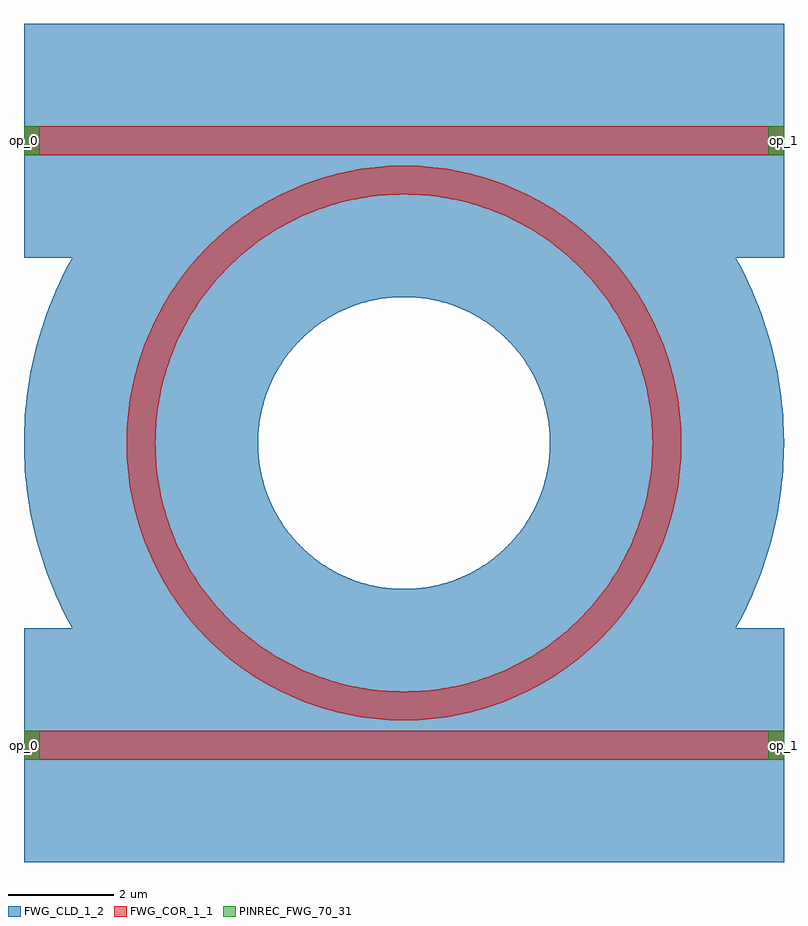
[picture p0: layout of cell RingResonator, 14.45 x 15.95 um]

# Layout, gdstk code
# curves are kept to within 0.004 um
import gdstk
lib = gdstk.Library(unit=1e-6, precision=1e-09)
def R(c, l, rs):  # rectangles x0, y0, x1, y1
    for r in rs: c.add(gdstk.rectangle(r[:2], r[2:], *l))
def P(c, l, *ps):  # polygons
    for p in ps: c.add(gdstk.Polygon(p, *l))
FWG_COR_1_1 = (1, 1)
FWG_CLD_1_2 = (1, 2)
PINREC_FWG_70_31 = (70, 31)

ring = lib.new_cell('ring')
P(ring, FWG_COR_1_1, [(4.725,0),(4.719,0.247),(4.707,0.412),(4.667,0.739),(4.604,1.063),(4.519,1.381),(4.468,1.538),(4.381,1.77),(4.247,2.071),(4.092,2.362),(3.917,2.642),(3.774,2.844),(3.62,3.037),(3.511,3.162),(3.399,3.282),(3.222,3.456),(2.974,3.672),(2.844,3.774),(2.642,3.917),(2.504,4.007),(2.291,4.133),(1.997,4.282),(1.693,4.411),(1.381,4.519),(1.143,4.585),(0.982,4.622),(0.739,4.667),(0.576,4.69),(0.247,4.719),(-0.082,4.724),(-0.412,4.707),(-0.739,4.667),(-0.982,4.622),(-1.143,4.585),(-1.46,4.494),(-1.77,4.381),(-2.071,4.247),(-2.291,4.133),(-2.434,4.05),(-2.71,3.87),(-2.974,3.672),(-3.222,3.456),(-3.399,3.282),(-3.511,3.162),(-3.672,2.974),(-3.87,2.71),(-4.05,2.434),(-4.172,2.218),(-4.282,1.997),(-4.411,1.693),(-4.519,1.381),(-4.585,1.143),(-4.638,0.902),(-4.69,0.576),(-4.719,0.247),(-4.725,0),(-4.719,-0.247),(-4.69,-0.576),(-4.638,-0.902),(-4.585,-1.143),(-4.519,-1.381),(-4.411,-1.693),(-4.282,-1.997),(-4.172,-2.218),(-4.05,-2.434),(-3.87,-2.71),(-3.672,-2.974),(-3.511,-3.162),(-3.282,-3.399),(-3.1,-3.566),(-2.844,-3.774),(-2.642,-3.917),(-2.434,-4.05),(-2.145,-4.21),(-1.922,-4.316),(-1.616,-4.44),(-1.381,-4.519),(-1.143,-4.585),(-0.902,-4.638),(-0.576,-4.69),(-0.247,-4.719),(0,-4.725),(0.247,-4.719),(0.576,-4.69),(0.902,-4.638),(1.143,-4.585),(1.381,-4.519),(1.616,-4.44),(1.846,-4.349),(2.071,-4.247),(2.291,-4.133),(2.573,-3.963),(2.844,-3.774),(3.037,-3.62),(3.222,-3.456),(3.456,-3.222),(3.672,-2.974),(3.823,-2.777),(3.963,-2.573),(4.133,-2.291),(4.247,-2.071),(4.381,-1.77),(4.494,-1.46),(4.585,-1.143),(4.638,-0.902),(4.69,-0.576),(4.719,-0.247),(4.725,0),(5.275,0),(5.268,-0.276),(5.246,-0.551),(5.21,-0.825),(5.16,-1.097),(5.118,-1.276),(5.045,-1.542),(4.957,-1.804),(4.856,-2.061),(4.741,-2.312),(4.614,-2.557),(4.522,-2.717),(4.373,-2.95),(4.213,-3.175),(4.041,-3.391),(3.858,-3.598),(3.73,-3.73),(3.598,-3.858),(3.391,-4.041),(3.175,-4.213),(2.95,-4.373),(2.717,-4.522),(2.557,-4.614),(2.312,-4.741),(2.061,-4.856),(1.804,-4.957),(1.542,-5.045),(1.365,-5.095),(1.097,-5.16),(0.825,-5.21),(0.551,-5.246),(0.276,-5.268),(0,-5.275),(-0.276,-5.268),(-0.551,-5.246),(-0.825,-5.21),(-1.097,-5.16),(-1.276,-5.118),(-1.542,-5.045),(-1.804,-4.957),(-2.061,-4.856),(-2.312,-4.741),(-2.557,-4.614),(-2.717,-4.522),(-2.95,-4.373),(-3.175,-4.213),(-3.391,-4.041),(-3.598,-3.858),(-3.73,-3.73),(-3.858,-3.598),(-4.041,-3.391),(-4.213,-3.175),(-4.373,-2.95),(-4.522,-2.717),(-4.614,-2.557),(-4.741,-2.312),(-4.856,-2.061),(-4.957,-1.804),(-5.045,-1.542),(-5.095,-1.365),(-5.16,-1.097),(-5.21,-0.825),(-5.246,-0.551),(-5.268,-0.276),(-5.275,0),(-5.268,0.276),(-5.246,0.551),(-5.21,0.825),(-5.16,1.097),(-5.118,1.276),(-5.045,1.542),(-4.957,1.804),(-4.856,2.061),(-4.741,2.312),(-4.614,2.557),(-4.522,2.717),(-4.373,2.95),(-4.213,3.175),(-4.041,3.391),(-3.858,3.598),(-3.73,3.73),(-3.598,3.858),(-3.391,4.041),(-3.175,4.213),(-2.95,4.373),(-2.717,4.522),(-2.557,4.614),(-2.312,4.741),(-2.061,4.856),(-1.804,4.957),(-1.542,5.045),(-1.365,5.095),(-1.097,5.16),(-0.825,5.21),(-0.551,5.246),(-0.276,5.268),(0,5.275),(0.276,5.268),(0.551,5.246),(0.825,5.21),(1.097,5.16),(1.365,5.095),(1.63,5.017),(1.89,4.925),(2.146,4.819),(2.395,4.7),(2.638,4.568),(2.873,4.424),(3.101,4.268),(3.32,4.099),(3.53,3.92),(3.73,3.73),(3.92,3.53),(4.157,3.248),(4.321,3.026),(4.522,2.717),(4.658,2.476),(4.819,2.146),(4.925,1.89),(5.045,1.542),(5.14,1.187),(5.195,0.916),(5.236,0.643),(5.268,0.276),(5.275,0)])
P(ring, FWG_CLD_1_2, [(2.775,0),(2.76,0.29),(2.733,0.482),(2.68,0.718),(2.608,0.949),(2.515,1.173),(2.379,1.429),(2.273,1.592),(2.126,1.784),(1.996,1.928),(1.784,2.126),(1.592,2.273),(1.429,2.379),(1.173,2.515),(0.949,2.608),(0.718,2.68),(0.482,2.733),(0.29,2.76),(0,2.775),(-0.29,2.76),(-0.482,2.733),(-0.718,2.68),(-0.949,2.608),(-1.173,2.515),(-1.345,2.427),(-1.552,2.301),(-1.746,2.157),(-1.928,1.996),(-2.094,1.821),(-2.245,1.631),(-2.379,1.429),(-2.515,1.173),(-2.591,0.994),(-2.68,0.718),(-2.724,0.529),(-2.748,0.386),(-2.768,0.194),(-2.775,0),(-2.76,-0.29),(-2.733,-0.482),(-2.704,-0.624),(-2.624,-0.903),(-2.515,-1.173),(-2.379,-1.429),(-2.301,-1.552),(-2.187,-1.708),(-1.996,-1.928),(-1.784,-2.126),(-1.552,-2.301),(-1.429,-2.379),(-1.26,-2.472),(-1.129,-2.535),(-0.949,-2.608),(-0.811,-2.654),(-0.624,-2.704),(-0.482,-2.733),(-0.29,-2.76),(0,-2.775),(0.29,-2.76),(0.529,-2.724),(0.811,-2.654),(1.04,-2.573),(1.173,-2.515),(1.345,-2.427),(1.592,-2.273),(1.746,-2.157),(1.857,-2.062),(2.062,-1.857),(2.245,-1.631),(2.379,-1.429),(2.45,-1.303),(2.535,-1.129),(2.608,-0.949),(2.654,-0.811),(2.714,-0.577),(2.741,-0.434),(2.76,-0.29),(2.775,0),(7.225,0),(7.215,-0.378),(7.186,-0.755),(7.136,-1.13),(7.067,-1.502),(6.979,-1.87),(6.871,-2.233),(6.789,-2.471),(6.651,-2.823),(6.494,-3.167),(6.319,-3.503),(6.127,-3.829),(5.99,-4.04),(5.845,-4.247),(5.615,-4.547),(5.369,-4.835),(5.109,-5.109),(4.835,-5.369),(4.547,-5.615),(4.247,-5.845),(4.04,-5.99),(3.829,-6.127),(3.503,-6.319),(3.167,-6.494),(2.823,-6.651),(2.589,-6.745),(2.233,-6.871),(1.87,-6.979),(1.502,-7.067),(1.13,-7.136),(0.755,-7.186),(0.378,-7.215),(0,-7.225),(-0.378,-7.215),(-0.755,-7.186),(-1.13,-7.136),(-1.502,-7.067),(-1.87,-6.979),(-2.233,-6.871),(-2.471,-6.789),(-2.823,-6.651),(-3.167,-6.494),(-3.503,-6.319),(-3.829,-6.127),(-4.04,-5.99),(-4.247,-5.845),(-4.547,-5.615),(-4.835,-5.369),(-5.109,-5.109),(-5.369,-4.835),(-5.615,-4.547),(-5.845,-4.247),(-5.99,-4.04),(-6.127,-3.829),(-6.319,-3.503),(-6.494,-3.167),(-6.651,-2.823),(-6.745,-2.589),(-6.871,-2.233),(-6.979,-1.87),(-7.067,-1.502),(-7.136,-1.13),(-7.186,-0.755),(-7.215,-0.378),(-7.225,0),(-7.215,0.378),(-7.186,0.755),(-7.136,1.13),(-7.067,1.502),(-6.979,1.87),(-6.871,2.233),(-6.789,2.471),(-6.651,2.823),(-6.494,3.167),(-6.319,3.503),(-6.127,3.829),(-5.99,4.04),(-5.845,4.247),(-5.615,4.547),(-5.369,4.835),(-5.109,5.109),(-4.835,5.369),(-4.547,5.615),(-4.247,5.845),(-4.04,5.99),(-3.829,6.127),(-3.503,6.319),(-3.167,6.494),(-2.823,6.651),(-2.589,6.745),(-2.233,6.871),(-1.87,6.979),(-1.502,7.067),(-1.13,7.136),(-0.755,7.186),(-0.378,7.215),(0,7.225),(0.252,7.221),(0.504,7.207),(0.755,7.186),(1.006,7.155),(1.379,7.092),(1.625,7.04),(1.87,6.979),(2.112,6.909),(2.352,6.831),(2.707,6.699),(2.939,6.6),(3.167,6.494),(3.392,6.379),(3.613,6.257),(3.829,6.127),(4.04,5.99),(4.247,5.845),(4.448,5.693),(4.644,5.535),(4.835,5.369),(5.019,5.197),(5.197,5.019),(5.369,4.835),(5.615,4.547),(5.845,4.247),(5.99,4.04),(6.127,3.829),(6.257,3.613),(6.379,3.392),(6.494,3.167),(6.651,2.823),(6.745,2.589),(6.871,2.233),(6.979,1.87),(7.04,1.625),(7.115,1.255),(7.155,1.006),(7.198,0.63),(7.221,0.252),(7.225,0)])

c_wg = lib.new_cell('wg')
R(c_wg, FWG_COR_1_1, [(0,-0.275,14.45,0.275)])
P(c_wg, FWG_CLD_1_2, [(0,2.225),(14.45,2.225),(14.45,0.275),(14.45,-0.275),(14.45,-2.225),(0,-2.225),(0,-0.275),(0,0.275)])
R(c_wg, PINREC_FWG_70_31, [(0,-0.275,0.3,0.275), (14.15,-0.275,14.45,0.275)])
c_wg.add(gdstk.Label('op_0', (0,0), layer=70, texttype=41))
c_wg.add(gdstk.Label('op_1', (14.45,0), layer=70, texttype=41))

straight_bottom = lib.new_cell('Straight_bottom')
R(straight_bottom, PINREC_FWG_70_31, [(0,-0.275,0.3,0.275), (14.15,-0.275,14.45,0.275)])
straight_bottom.add(gdstk.Reference(c_wg, (0,0)))
straight_bottom.add(gdstk.Label('op_0', (0,0), layer=70, texttype=41))
straight_bottom.add(gdstk.Label('op_1', (14.45,0), layer=70, texttype=41))

ringresonator = lib.new_cell('RingResonator')
R(ringresonator, PINREC_FWG_70_31, [(-7.225,-6.025,-6.925,-5.475), (6.925,-6.025,7.225,-5.475), (-7.225,5.475,-6.925,6.025), (6.925,5.475,7.225,6.025)])
ringresonator.add(gdstk.Reference(ring, (0,0)))
ringresonator.add(gdstk.Reference(straight_bottom, (-7.225,5.75)))
ringresonator.add(gdstk.Reference(straight_bottom, (-7.225,-5.75)))
ringresonator.add(gdstk.Label('op_0', (-7.225,5.75), layer=70, texttype=41))
ringresonator.add(gdstk.Label('op_1', (7.225,5.75), layer=70, texttype=41))
ringresonator.add(gdstk.Label('op_0', (-7.225,-5.75), layer=70, texttype=41))
ringresonator.add(gdstk.Label('op_1', (7.225,-5.75), layer=70, texttype=41))

lib.write_gds('RingResonator.gds')
